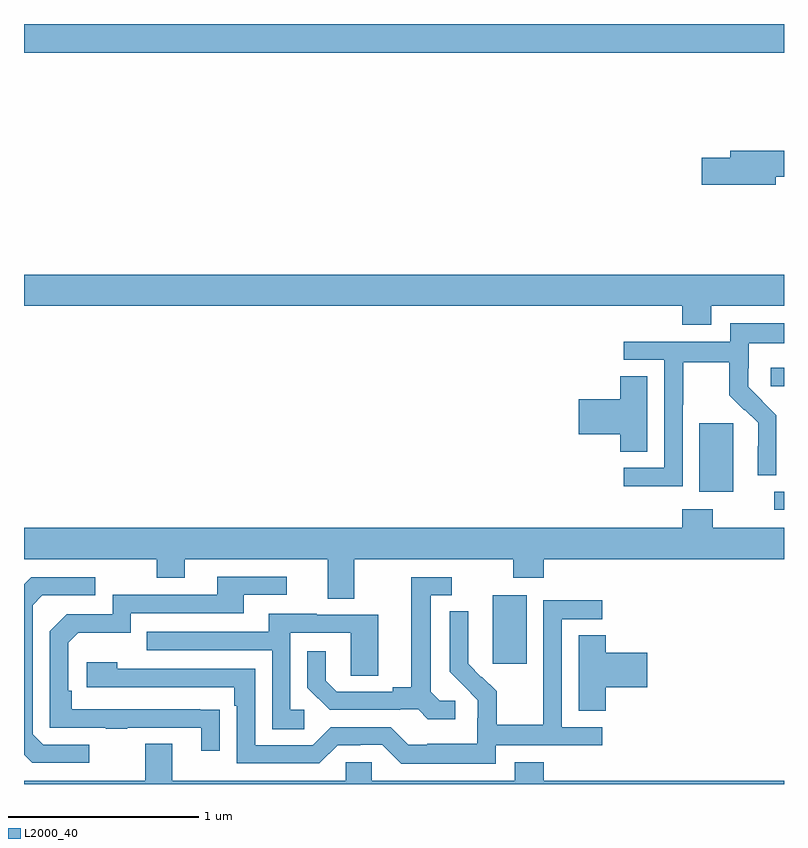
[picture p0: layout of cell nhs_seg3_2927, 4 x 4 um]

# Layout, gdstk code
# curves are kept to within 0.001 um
import gdstk
lib = gdstk.Library(unit=1e-6, precision=1e-09)
def R(c, l, rs):  # rectangles x0, y0, x1, y1
    for r in rs: c.add(gdstk.rectangle(r[:2], r[2:], *l))
def P(c, l, *ps):  # polygons
    for p in ps: c.add(gdstk.Polygon(p, *l))
L2000_40 = (2000, 40)

nhs_seg3_2927 = lib.new_cell('nhs_seg3_2927')
R(nhs_seg3_2927, L2000_40, [(265.466,699.033,265.645,699.394), (266.949,699.843,267,699.939), (266.555,699.938,266.734,700.299), (266.931,700.494,267,700.591), (263,702.248,267,702.4)])
P(nhs_seg3_2927, L2000_40, [(266.956,701.596),(267,701.596),(267,701.732),(266.717,701.732),(266.717,701.696),(266.568,701.696),(266.568,701.554),(266.956,701.554)],
  [(266.617,700.916),(267,700.916),(267,701.08),(263,701.08),(263,700.916),(266.465,700.916),(266.465,700.817),(266.617,700.817)],
  [(266.466,700.396),(266.469,700.396),(266.469,700.62),(266.713,700.62),(266.713,700.445),(266.79,700.368),(266.793,700.371),(266.864,700.301),(266.864,700.178),(266.862,700.178),(266.862,700.024),(266.958,700.024),(266.958,700.342),(266.812,700.49),(266.812,700.587),(266.814,700.587),(266.814,700.721),(267,700.721),(267,700.825),(266.718,700.825),(266.718,700.728),(266.157,700.728),(266.157,700.632),(266.37,700.632),(266.37,700.065),(266.157,700.065),(266.157,699.967),(266.466,699.967)],
  [(266.281,700.547),(266.138,700.547),(266.138,700.424),(265.92,700.424),(265.92,700.241),(266.138,700.241),(266.138,700.15),(266.281,700.15)],
  [(264.739,699.584),(265.576,699.584),(265.576,699.485),(265.736,699.485),(265.736,699.584),(267,699.584),(267,699.748),(266.625,699.748),(266.625,699.847),(266.465,699.847),(266.465,699.748),(263,699.748),(263,699.584),(263.698,699.584),(263.698,699.485),(263.845,699.485),(263.845,699.584),(264.599,699.584),(264.599,699.376),(264.739,699.376)],
  [(264.029,698.792),(263.252,698.793),(263.252,698.89),(263.232,698.89),(263.232,699.144),(263.285,699.197),(263.562,699.197),(263.562,699.3),(264.157,699.3),(264.157,699.396),(264.382,699.396),(264.382,699.492),(264.017,699.492),(264.017,699.396),(263.466,699.396),(263.466,699.294),(263.226,699.294),(263.136,699.204),(263.136,698.697),(263.431,698.697),(263.431,698.692),(263.543,698.692),(263.543,698.697),(263.933,698.697),(263.933,698.574),(264.029,698.574)],
  [(265.27,698.838),(265.188,698.838),(265.141,698.885),(265.141,699.393),(265.252,699.393),(265.252,699.489),(265.037,699.489),(265.037,698.909),(264.941,698.909),(264.941,698.886),(264.646,698.886),(264.589,698.943),(264.589,699.1),(264.492,699.1),(264.492,698.906),(264.608,698.79),(264.98,698.79),(264.98,698.793),(265.074,698.793),(265.126,698.741),(265.27,698.741)],
  [(263.344,698.607),(263.1,698.607),(263.046,698.661),(263.046,699.342),(263.097,699.393),(263.374,699.393),(263.374,699.489),(263.037,699.489),(263,699.452),(263,698.554),(263.043,698.511),(263.344,698.511)],
  [(265.482,698.604),(266.044,698.604),(266.044,698.7),(265.83,698.7),(265.83,699.267),(266.044,699.267),(266.044,699.366),(265.734,699.366),(265.734,698.936),(265.732,698.936),(265.732,698.713),(265.487,698.713),(265.487,698.887),(265.41,698.964),(265.407,698.961),(265.337,699.032),(265.338,699.308),(265.242,699.308),(265.242,698.99),(265.388,698.842),(265.388,698.745),(265.386,698.745),(265.386,698.611),(265.123,698.611),(265.123,698.607),(265.023,698.607),(264.93,698.7),(264.615,698.7),(264.519,698.604),(264.216,698.604),(264.216,699.006),(263.492,699.006),(263.492,699.04),(263.331,699.04),(263.331,698.91),(264.107,698.91),(264.107,698.813),(264.12,698.813),(264.12,698.508),(264.555,698.508),(264.651,698.604),(264.77,698.604),(264.77,698.607),(264.885,698.607),(264.985,698.507),(265.482,698.507)],
  [(264.475,698.79),(264.402,698.79),(264.402,699.195),(264.72,699.195),(264.72,698.971),(264.865,698.971),(264.865,699.291),(264.541,699.291),(264.541,699.295),(264.287,699.295),(264.287,699.201),(263.647,699.201),(263.647,699.105),(264.306,699.105),(264.306,698.689),(264.475,698.689)],
  [(266.063,698.909),(266.281,698.909),(266.281,699.092),(266.063,699.092),(266.063,699.182),(265.919,699.182),(265.919,698.785),(266.063,698.785)],
  [(267,698.416),(265.736,698.416),(265.736,698.515),(265.583,698.515),(265.583,698.416),(264.831,698.416),(264.831,698.514),(264.693,698.514),(264.693,698.416),(263.779,698.416),(263.779,698.611),(263.639,698.611),(263.639,698.416),(263,698.416),(263,698.4),(267,698.4)])

lib.write_gds('nhs_seg3_2927.gds')
